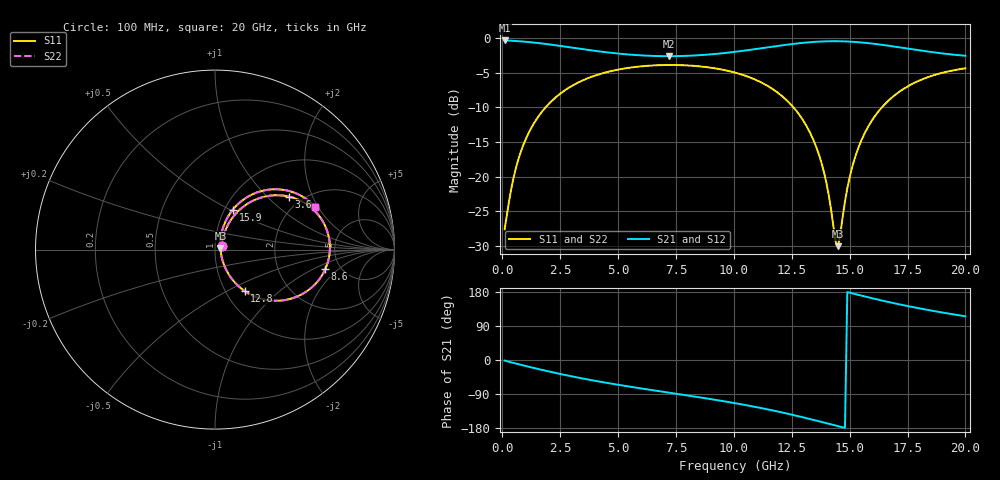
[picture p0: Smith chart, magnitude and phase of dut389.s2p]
! Touchstone file exported from HFSS 2026.1.0
!  File:  C:/ffzhzh/LocalFiles/Ansys_Project_Files/temp_train_TSV_RDL_389_1783090629_37876.aedt
!  Generated:  11:09:36 PM Jul  3, 2026
!  Design:  TSV_RDL
!  Project:  temp_train_TSV_RDL_389_1783090629_37876
! Variables:
!  h_bsmrdl = 2.04um
!  h_ox = 20um
!  h_rdl = 5um
!  h_sub = 64.54um
!  h_tmrdl = 2.33um
!  h_tsv = 64.54um
!  h_via = 3um
!  l_bsmrdl = 521.88um
!  l_sub = 4069.96um
!  l_tmrdl = 494.43um
!  m_sub = 200um
!  pitch = 55.65um
!  r_tsv = 3.03um
!  s_tmrdl = 10um
!  w_bsmrdl = 28.88um
!  w_sub = 500um
!  w_tmrdl = 13.32um
!  x_tsv_center1 = 501.09um
!  x_tsv_center2 = 1051.85um
!  x_tsv_center3 = 1559.6um
!  x_tsv_center4 = 2110.36um
!  x_tsv_center5 = 2618.11um
!  x_tsv_center6 = 3168.87um
# GHz S MA R 50.000000
! Terminal data exported
! Port[1] = TM_RDL1_1_T1
! Port[2] = TM_RDL5_1_T1
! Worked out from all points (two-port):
!   200 points, 100 MHz to 20 GHz, reference 50 ohm
!   highest |S21| = -0.33 dB at 100 MHz (marker M1); lowest = -2.6 dB at 7.2 GHz (marker M2)
!   |S21| within 3 dB of the highest: start of sweep to end of sweep
!   lowest |S11| = -30.1 dB at 14.5 GHz (marker M3), VSWR 1.06, Z = 53.1 + j0.761 ohm
!   |S11| at or under -10 dB: start of sweep to 1.871 GHz; 12.57 GHz to 16.39 GHz (3.82 GHz wide, 26.4 % of centre)
!   |S22| runs from -30.2 to -3.9 dB; largest |S21 - S12| = 1.7e-14
!   S11 on the Smith chart (normalised r, x): 100 MHz: 1.08, +0.04; 3.6 GHz: 1.71, +1.36; 8.6 GHz: 3.79, -1.37; 12.8 GHz: 1.23, -0.61; 15.9 GHz: 1.09, +0.52; 20 GHz: 2.49, +1.88
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0.1  0.04151 26.0  0.963 -1.6  0.963 -1.6  0.04151 26.0
! Gamma 0 0 0 0
! Port Impedance 50 0 50 0
0.6  0.1172 61.3  0.9541 -9.6  0.9541 -9.6  0.1172 61.3
1.2  0.2164 60.7  0.9359 -18.6  0.9359 -18.6  0.2164 60.7
2.2  0.3601 50.9  0.8939 -32.8  0.8939 -32.8  0.3601 50.9
3.5  0.4977 36.8  0.832 -49.2  0.832 -49.2  0.4977 36.8
3.6  0.506 35.8  0.8275 -50.3  0.8275 -50.3  0.506 35.8
6.8  0.6385 5.7  0.7423 -82.5  0.7423 -82.5  0.6386 5.7
7.2  0.6404 2.2  0.7412 -86.2  0.7412 -86.2  0.6404 2.2
8.6  0.6238 -10.2  0.7551 -99.3  0.7551 -99.3  0.6238 -10.2
10.1  0.5612 -24.5  0.7989 -114.4  0.7989 -114.4  0.5612 -24.5
11.7  0.4264 -41.8  0.87 -133.4  0.87 -133.4  0.4264 -41.8
12.8  0.2836 -54.4  0.9188 -148.5  0.9188 -148.5  0.2836 -54.5
13.4  0.1896 -60.0  0.9385 -157.4  0.9385 -157.4  0.1896 -60.1
13.9  0.1062 -59.9  0.9485 -165.1  0.9485 -165.1  0.1061 -60.1
14.4  0.03353 -17.0  0.9513 -173.0  0.9513 -173.0  0.03319 -17.3
14.5  0.03137 13.2  0.951 -174.5  0.951 -174.5  0.03099 13.2
14.8  0.0661 61.5  0.9482 -179.2  0.9482 -179.2  0.06589 61.8
15.1  0.1152 69.3  0.9428 176.1  0.9428 176.1  0.115 69.5
15.9  0.2444 65.9  0.9174 164.0  0.9174 164.0  0.2444 66.0
16.7  0.3567 57.2  0.8814 152.8  0.8814 152.8  0.3567 57.3
18.2  0.5092 40.7  0.8089 134.1  0.8089 134.1  0.5092 40.8
20  0.6052 23.3  0.7465 115.3  0.7465 115.3  0.6052 23.3
